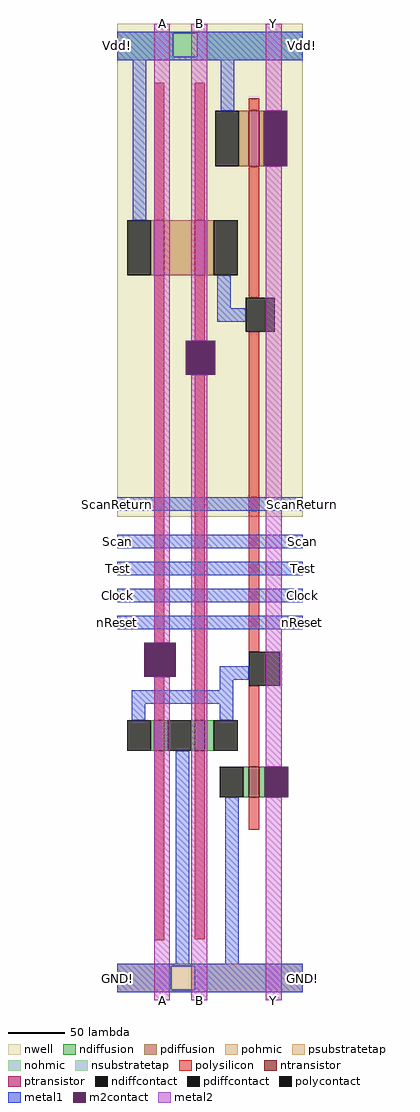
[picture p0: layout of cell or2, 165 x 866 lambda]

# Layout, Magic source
magic
tech tsmc180
<< nwell >>
rect 0 429 165 866
<< polysilicon >>
rect 33 692 42 814
rect 69 692 78 814
rect 117 789 126 800
rect 33 317 42 643
rect 69 585 78 643
rect 117 623 126 740
rect 33 248 42 287
rect 69 248 78 555
rect 117 309 126 593
rect 33 53 42 221
rect 69 54 78 221
rect 117 207 126 279
rect 117 151 126 180
<< ndiffusion >>
rect 30 221 33 248
rect 42 221 45 248
rect 66 221 69 248
rect 78 221 86 248
rect 112 180 117 207
rect 126 180 131 207
<< pdiffusion >>
rect 108 740 117 789
rect 126 740 130 789
rect 30 643 33 692
rect 42 643 69 692
rect 78 643 86 692
<< pohmic >>
rect 0 30 165 32
rect 0 9 48 30
rect 69 9 165 30
rect 0 7 165 9
<< nohmic >>
rect 0 858 165 859
rect 0 837 50 858
rect 71 837 165 858
rect 0 834 165 837
<< ntransistor >>
rect 33 221 42 248
rect 69 221 78 248
rect 117 180 126 207
<< ptransistor >>
rect 117 740 126 789
rect 33 643 42 692
rect 69 643 78 692
<< polycontact >>
rect 114 593 140 623
rect 61 555 87 585
rect 24 287 52 317
rect 117 279 145 309
<< ndiffcontact >>
rect 9 221 30 248
rect 45 221 66 248
rect 86 221 107 248
rect 91 180 112 207
rect 131 180 152 207
<< pdiffcontact >>
rect 87 740 108 789
rect 130 740 151 789
rect 9 643 30 692
rect 86 643 107 692
<< psubstratetap >>
rect 48 9 69 30
<< nsubstratetap >>
rect 50 837 71 858
<< metal1 >>
rect 0 858 165 859
rect 0 837 50 858
rect 71 837 165 858
rect 0 834 165 837
rect 14 692 26 834
rect 92 789 104 834
rect 89 614 101 643
rect 89 602 114 614
rect 0 434 165 446
rect 0 401 165 413
rect 0 377 165 389
rect 0 353 165 365
rect 0 329 165 341
rect 91 284 117 296
rect 91 275 103 284
rect 13 263 103 275
rect 13 248 25 263
rect 91 248 103 263
rect 52 32 64 221
rect 96 32 108 180
rect 0 30 165 32
rect 0 9 48 30
rect 69 9 165 30
rect 0 7 165 9
<< m2contact >>
rect 130 740 151 789
rect 61 555 87 585
rect 24 287 52 317
rect 131 180 152 207
<< metal2 >>
rect 33 317 47 866
rect 66 585 80 866
rect 132 789 146 866
rect 33 0 47 287
rect 66 0 80 555
rect 132 207 146 740
rect 132 0 146 180
<< labels >>
rlabel metal1 0 7 0 32 3 GND!
rlabel metal1 0 329 0 341 3 nReset
rlabel metal1 0 353 0 365 3 Clock
rlabel metal1 0 377 0 389 3 Test
rlabel metal1 0 434 0 446 3 ScanReturn
rlabel metal1 0 834 0 859 3 Vdd!
rlabel metal1 0 401 0 413 3 Scan
rlabel metal2 33 866 47 866 5 A
rlabel metal2 33 0 47 0 1 A
rlabel metal2 66 866 80 866 5 B
rlabel metal2 66 0 80 0 1 B
rlabel metal2 132 866 146 866 5 Y
rlabel metal2 132 0 146 0 1 Y
rlabel metal1 165 434 165 446 7 ScanReturn
rlabel metal1 165 401 165 413 7 Scan
rlabel metal1 165 377 165 389 7 Test
rlabel metal1 165 353 165 365 7 Clock
rlabel metal1 165 329 165 341 7 nReset
rlabel metal1 165 834 165 859 7 Vdd!
rlabel metal1 165 7 165 32 7 GND!
<< end >>
